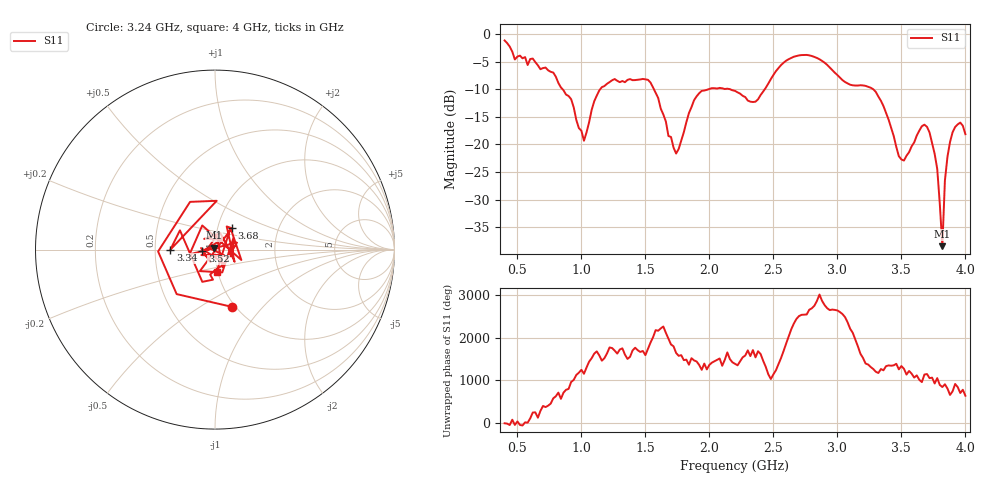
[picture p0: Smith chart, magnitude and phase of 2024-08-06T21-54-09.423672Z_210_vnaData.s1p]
!Created with skrf (http://scikit-rf.org).
# Hz S RI R 50.0
!freq ReS11 ImS11
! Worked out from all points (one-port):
!   181 points, 400 MHz to 4 GHz, reference 50 ohm
!   lowest |S11| = -38.5 dB at 3.82 GHz (marker M1), VSWR 1.02, Z = 49.4 + j1.04 ohm
!   |S11| at or under -10 dB: 853.7 MHz to 1.146 GHz (292.4 MHz wide, 29.2 % of centre); 1.567 GHz to 1.991 GHz (423.8 MHz wide, 23.8 % of centre); 3.281 GHz to end of sweep (the widest 3 of 4)
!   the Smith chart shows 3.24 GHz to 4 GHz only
!   S11 on the Smith chart (normalised r, x): 3.24 GHz: 0.97, -0.70; 3.34 GHz: 0.60, -0.00; 3.52 GHz: 0.87, -0.01; 3.68 GHz: 1.17, +0.28; 4 GHz: 0.99, -0.25
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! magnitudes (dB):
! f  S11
! 400 MHz  -1.1
! 480 MHz  -4.6
! 620 MHz  -4.4
! 860 MHz  -10.2
! 920 MHz  -11.8
! 1.02 GHz  -19.3
! 1.14 GHz  -10.2
! 1.3 GHz  -8.7
! 1.54 GHz  -8.8
! 1.68 GHz  -18.5
! 1.76 GHz  -20.8
! 1.92 GHz  -10.7
! 2.2 GHz  -10.3
! 2.36 GHz  -12.2
! 2.66 GHz  -4.1
! 2.84 GHz  -4.3
! 3.1 GHz  -9.2
! 3.24 GHz  -9.5
! 3.34 GHz  -12.1
! 3.52 GHz  -22.9
! 3.56 GHz  -21.4
! 3.68 GHz  -16.4
! 3.78 GHz  -24.4
! 3.82 GHz  -38.5
! 3.84 GHz  -26.6
! 3.88 GHz  -19.5
! 3.96 GHz  -16.0
! 4 GHz  -18.1
